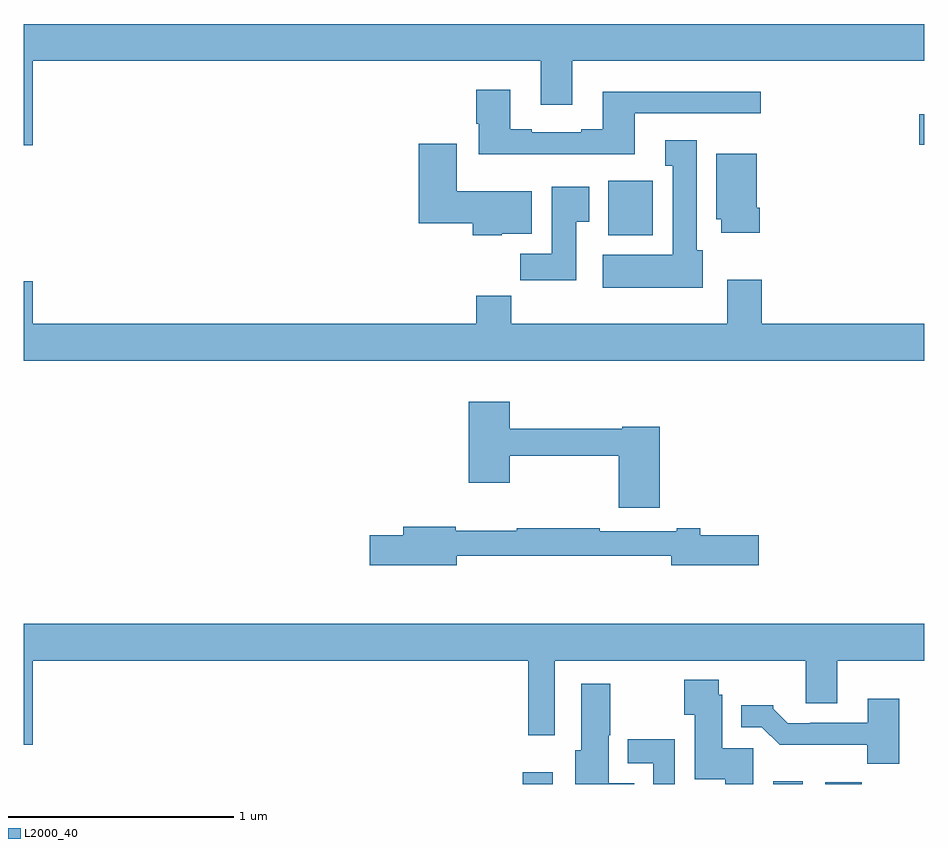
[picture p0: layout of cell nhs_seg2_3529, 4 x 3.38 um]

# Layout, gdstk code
import gdstk
lib = gdstk.Library(unit=1e-6, precision=1e-09)
def R(c, l, rs):  # rectangles x0, y0, x1, y1
    for r in rs: c.add(gdstk.rectangle(r[:2], r[2:], *l))
def P(c, l, *ps):  # polygons
    for p in ps: c.add(gdstk.Polygon(p, *l))
L2000_40 = (2000, 40)

nhs_seg2_3529 = lib.new_cell('nhs_seg2_3529')
R(nhs_seg2_3529, L2000_40, [(299.216,601.8,299.35,601.852), (300.329,601.8,300.46,601.813), (300.56,601.8,300.722,601.807), (299.597,604.238,299.794,604.48), (300.978,604.64,301,604.774)])
P(nhs_seg2_3529, L2000_40, [(297.04,605.012),(299.297,605.012),(299.297,604.818),(299.437,604.818),(299.437,605.012),(301,605.012),(301,605.176),(297,605.176),(297,604.638),(297.04,604.638)],
  [(299.713,604.779),(300.274,604.779),(300.274,604.876),(299.573,604.876),(299.573,604.708),(299.477,604.708),(299.477,604.695),(299.257,604.695),(299.257,604.708),(299.161,604.708),(299.161,604.885),(299.009,604.885),(299.009,604.732),(299.021,604.732),(299.021,604.598),(299.713,604.598)],
  [(300.016,604.17),(299.989,604.17),(299.989,604.66),(299.849,604.66),(299.849,604.547),(299.882,604.547),(299.882,604.15),(299.573,604.15),(299.573,604.004),(300.016,604.004)],
  [(299.124,604.244),(299.257,604.244),(299.257,604.432),(298.924,604.432),(298.924,604.645),(298.754,604.645),(298.754,604.292),(298.994,604.292),(298.994,604.238),(299.124,604.238)],
  [(300.269,604.36),(300.256,604.36),(300.256,604.6),(300.077,604.6),(300.077,604.308),(300.098,604.308),(300.098,604.248),(300.269,604.248)],
  [(299.455,604.297),(299.512,604.297),(299.512,604.453),(299.345,604.453),(299.345,604.156),(299.206,604.156),(299.206,604.038),(299.455,604.038)],
  [(301,603.844),(300.278,603.844),(300.278,604.039),(300.125,604.039),(300.125,603.844),(299.165,603.844),(299.165,603.968),(299.009,603.968),(299.009,603.844),(297.04,603.844),(297.04,604.033),(297,604.033),(297,603.68),(301,603.68)],
  [(299.825,603.387),(299.658,603.387),(299.658,603.379),(299.159,603.379),(299.159,603.499),(298.976,603.499),(298.976,603.138),(299.159,603.138),(299.159,603.258),(299.642,603.258),(299.642,603.027),(299.825,603.027)],
  [(298.924,602.814),(299.876,602.814),(299.876,602.771),(300.265,602.771),(300.265,602.906),(300.004,602.906),(300.004,602.935),(299.9,602.935),(299.9,602.922),(299.558,602.922),(299.558,602.935),(299.189,602.935),(299.189,602.924),(298.92,602.924),(298.92,602.942),(298.685,602.942),(298.685,602.906),(298.536,602.906),(298.536,602.771),(298.924,602.771)],
  [(297.04,602.348),(299.242,602.348),(299.242,602.016),(299.358,602.016),(299.358,602.348),(300.473,602.348),(300.473,602.158),(300.613,602.158),(300.613,602.348),(301,602.348),(301,602.512),(297,602.512),(297,601.974),(297.04,601.974)],
  [(300.241,601.959),(300.103,601.959),(300.103,602.196),(300.087,602.196),(300.087,602.263),(299.935,602.263),(299.935,602.107),(299.981,602.107),(299.981,601.82),(300.116,601.82),(300.116,601.8),(300.241,601.8)],
  [(299.711,601.804),(299.599,601.804),(299.599,602.016),(299.605,602.016),(299.605,602.245),(299.477,602.245),(299.477,601.95),(299.45,601.95),(299.45,601.8),(299.711,601.8)],
  [(300.889,602.179),(300.749,602.179),(300.749,602.073),(300.493,602.073),(300.493,602.07),(300.394,602.07),(300.33,602.134),(300.33,602.149),(300.188,602.149),(300.188,602.052),(300.279,602.052),(300.358,601.974),(300.747,601.974),(300.747,601.889),(300.889,601.889)],
  [(299.892,601.999),(299.684,601.999),(299.684,601.893),(299.796,601.893),(299.796,601.8),(299.892,601.8)])

lib.write_gds('nhs_seg2_3529.gds')
